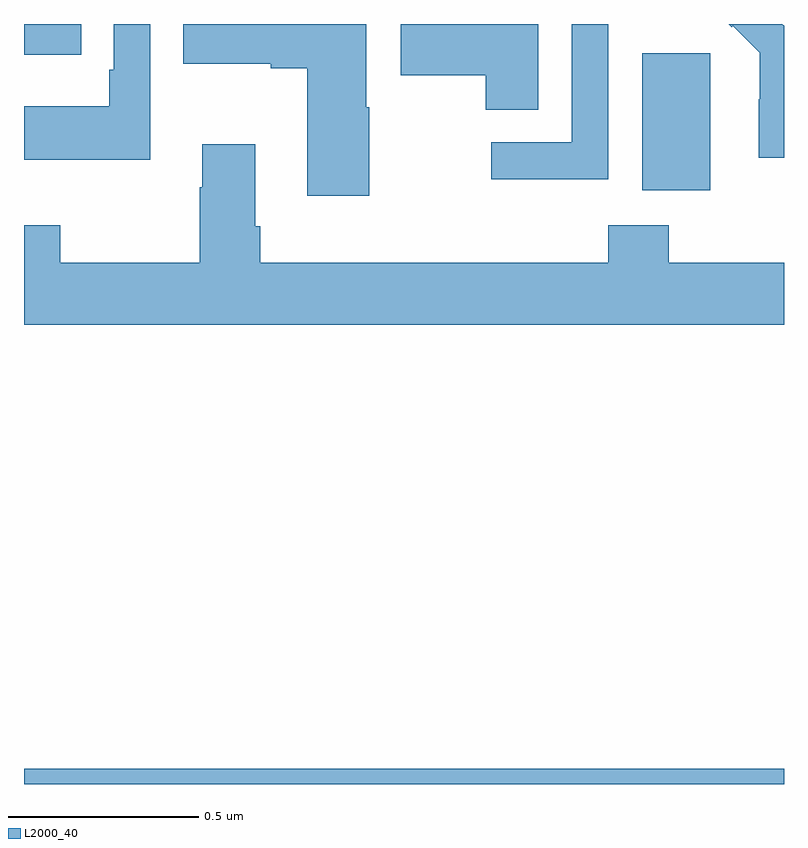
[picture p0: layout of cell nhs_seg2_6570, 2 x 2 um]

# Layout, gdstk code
import gdstk
lib = gdstk.Library(unit=1e-6, precision=1e-09)
def R(c, l, rs):  # rectangles x0, y0, x1, y1
    for r in rs: c.add(gdstk.rectangle(r[:2], r[2:], *l))
def P(c, l, *ps):  # polygons
    for p in ps: c.add(gdstk.Polygon(p, *l))
L2000_40 = (2000, 40)

nhs_seg2_6570 = lib.new_cell('nhs_seg2_6570')
R(nhs_seg2_6570, L2000_40, [(193,607.8,195,607.84), (194.627,609.362,194.806,609.723), (193,609.719,193.151,609.8)])
P(nhs_seg2_6570, L2000_40, [(193.908,609.581),(193.9,609.581),(193.9,609.8),(193.419,609.8),(193.419,609.695),(193.649,609.695),(193.649,609.683),(193.745,609.683),(193.745,609.348),(193.908,609.348)],
  [(194.353,609.8),(193.992,609.8),(193.992,609.665),(194.215,609.665),(194.215,609.574),(194.353,609.574)],
  [(194.538,609.8),(194.442,609.8),(194.442,609.489),(194.229,609.489),(194.229,609.391),(194.538,609.391)],
  [(195,609.796),(194.996,609.8),(194.854,609.8),(194.862,609.792),(194.865,609.795),(194.936,609.725),(194.936,609.602),(194.934,609.602),(194.934,609.448),(195,609.448)],
  [(193.332,609.8),(193.236,609.8),(193.236,609.679),(193.224,609.679),(193.224,609.583),(193,609.583),(193,609.443),(193.332,609.443)],
  [(195,609.172),(194.697,609.172),(194.697,609.271),(194.537,609.271),(194.537,609.172),(193.622,609.172),(193.622,609.268),(193.609,609.268),(193.609,609.484),(193.469,609.484),(193.469,609.371),(193.462,609.371),(193.462,609.172),(193.095,609.172),(193.095,609.271),(193,609.271),(193,609.008),(195,609.008)])

lib.write_gds('nhs_seg2_6570.gds')
